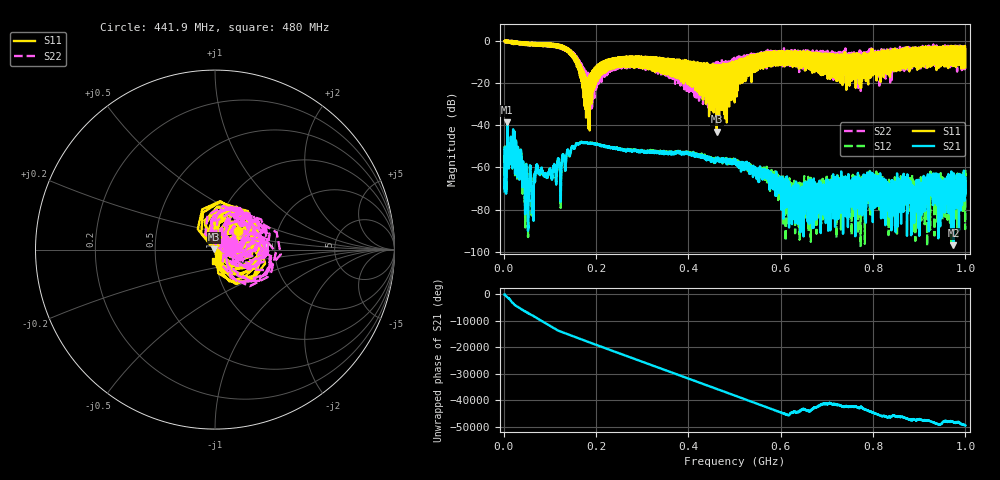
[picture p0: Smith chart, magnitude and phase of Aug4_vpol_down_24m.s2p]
!Keysight Technologies N9923A: A.12.45
!Date: Tuesday, 05 August 2025 20:48:22
!Timezone: (UTC+08:00) Kuala Lumpur, Singapore
!Model: N9923A
!Serial: MY61181427
!GPS Latitude:
!GPS Longitude:
!GPS TimeStamp: 0001-01-01 00:00:00Z
!GPS Seconds Since Last Read: 0
!CHECKSUM:0812492322
!Correction: S11(ON U)S21(ON U)S12(ON U)S22(ON U)
!S2P File: Measurements:S11,S21,S12,S22:
# Hz S DB R 50
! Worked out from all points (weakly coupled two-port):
!   4001 points, 2 MHz to 1 GHz, reference 50 ohm
!   highest |S21| = -38.72 dB at 7.988 MHz (marker M1); lowest = -97.0 dB at 974.1 MHz (marker M2)
!   lowest |S11| = -43.1 dB at 461.6 MHz (marker M3), VSWR 1.01, Z = 49.3 + j0.0616 ohm
!   |S11| at or under -10 dB: 162.8 MHz to 213.8 MHz (51.02 MHz wide, 27.1 % of centre); 405.5 MHz to 410.4 MHz (4.944 MHz wide, 1.21 % of centre); 412.2 MHz to 494 MHz (81.81 MHz wide, 18.1 % of centre)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
!   |S22| runs from -35.9 to 0.1 dB; largest |S21 - S12| = 0.00096
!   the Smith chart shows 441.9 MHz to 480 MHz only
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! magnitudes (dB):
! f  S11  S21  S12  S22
! 2 MHz  -0.1  -71.5  -69.9  -0.1
! 7.988 MHz  -0.5  -38.7  -38.8  -0.5
! 25.2 MHz  -0.3  -57.0  -56.9  -0.3
! 56.64 MHz  -1.4  -60.8  -60.4  -1.6
! 73.36 MHz  -1.8  -59.5  -60.0  -1.9
! 92.07 MHz  -1.4  -63.8  -64.4  -1.7
! 134.2 MHz  -2.9  -59.3  -58.6  -3.0
! 168.4 MHz  -19.4  -48.2  -47.9  -16.1
! 181.6 MHz  -29.2  -48.6  -48.6  -25.1
! 229 MHz  -8.6  -50.5  -50.6  -9.7
! 334.8 MHz  -8.2  -52.5  -52.4  -10.2
! 461.6 MHz  -43.1  -56.3  -56.1  -21.4
! 501 MHz  -10.0  -57.3  -57.6  -9.0
! 625.5 MHz  -6.5  -70.5  -70.0  -4.5
! 667.4 MHz  -6.1  -70.5  -69.3  -6.7
! 811.4 MHz  -16.0  -66.3  -78.2  -5.8
! 833.8 MHz  -6.3  -70.9  -70.2  -13.9
! 869.8 MHz  -5.8  -72.1  -66.2  -4.2
! 894 MHz  -12.5  -66.0  -74.9  -4.6
! 926.1 MHz  -7.5  -65.7  -71.9  -6.1
! 974.1 MHz  -3.3  -97.0  -69.1  -5.5
! 1 GHz  -12.5  -73.1  -64.2  -4.0
